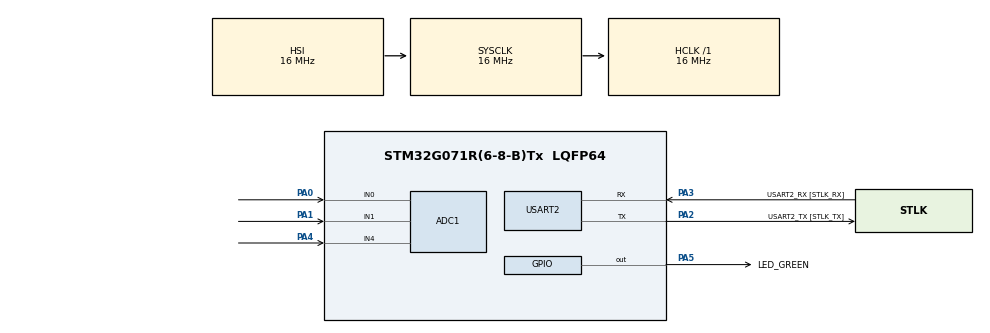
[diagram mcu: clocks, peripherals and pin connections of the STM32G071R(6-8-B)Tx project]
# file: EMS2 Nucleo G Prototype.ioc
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ADC1.Channel-0\#ChannelRegularConversion=ADC_CHANNEL_0
ADC1.Channel-1\#ChannelRegularConversion=ADC_CHANNEL_1
ADC1.Channel-2\#ChannelRegularConversion=ADC_CHANNEL_4
ADC1.ContinuousConvMode=ENABLE
ADC1.DMAContinuousRequests=ENABLE
ADC1.NbrOfConversion=3
ADC1.NbrOfConversionFlag=1
ADC1.Rank-0\#ChannelRegularConversion=1
ADC1.Rank-1\#ChannelRegularConversion=2
ADC1.Rank-2\#ChannelRegularConversion=3
ADC1.SamplingTime-0\#ChannelRegularConversion=ADC_SAMPLINGTIME_COMMON_1
ADC1.SamplingTime-1\#ChannelRegularConversion=ADC_SAMPLINGTIME_COMMON_1
ADC1.SamplingTime-2\#ChannelRegularConversion=ADC_SAMPLINGTIME_COMMON_1
ADC1.SamplingTimeCommon1=ADC_SAMPLETIME_12CYCLES_5
ADC1.SamplingTimeCommon2=ADC_SAMPLETIME_12CYCLES_5
ADC1.SelectedChannel=ADC_CHANNEL_0|ADC_CHANNEL_1|ADC_CHANNEL_4
ADC1.master=1
Dma.ADC1.0.Direction=DMA_PERIPH_TO_MEMORY
Dma.ADC1.0.EventEnable=DISABLE
Dma.ADC1.0.Instance=DMA1_Channel1
Dma.ADC1.0.MemDataAlignment=DMA_MDATAALIGN_HALFWORD
Dma.ADC1.0.MemInc=DMA_MINC_ENABLE
Dma.ADC1.0.Mode=DMA_CIRCULAR
Dma.ADC1.0.PeriphDataAlignment=DMA_PDATAALIGN_HALFWORD
Dma.ADC1.0.PeriphInc=DMA_PINC_DISABLE
Dma.ADC1.0.Polarity=HAL_DMAMUX_REQ_GEN_RISING
Dma.ADC1.0.Priority=DMA_PRIORITY_LOW
Dma.ADC1.0.RequestNumber=1
Dma.ADC1.0.SignalID=NONE
Dma.ADC1.0.SyncEnable=DISABLE
Dma.ADC1.0.SyncPolarity=HAL_DMAMUX_SYNC_NO_EVENT
Dma.ADC1.0.SyncRequestNumber=1
Dma.ADC1.0.SyncSignalID=NONE
Dma.Request0=ADC1
Mcu.Family=STM32G0
Mcu.Name=STM32G071R(6-8-B)Tx
Mcu.Package=LQFP64
NVIC.ADC1_COMP_IRQn=true\:0\:0\:false\:false\:true\:true\:true\:true
NVIC.DMA1_Channel1_IRQn=true\:0\:0\:false\:false\:true\:false\:true\:true
PA0.Mode=IN0
PA0.Signal=ADC1_IN0
PA1.Mode=IN1
PA1.Signal=ADC1_IN1
PA13.GPIO_Label=TMS
PA13.Mode=Serial_Wire
PA13.Signal=SYS_SWDIO
PA14-BOOT0.GPIO_Label=TCK
PA14-BOOT0.Mode=Serial_Wire
PA14-BOOT0.Signal=SYS_SWCLK
PA2.GPIO_Label=USART2_TX [STLK_TX]
PA2.GPIO_PuPd=GPIO_PULLUP
PA2.Mode=Asynchronous
PA2.Signal=USART2_TX
PA3.GPIO_Label=USART2_RX [STLK_RX]
PA3.GPIO_PuPd=GPIO_PULLUP
PA3.Mode=Asynchronous
PA3.Signal=USART2_RX
PA4.Mode=IN4
PA4.Signal=ADC1_IN4
PA5.GPIO_Label=LED_GREEN
PA5.GPIO_Speed=GPIO_SPEED_FREQ_HIGH
PA5.Signal=GPIO_Output
PC13.Mode=SYS_WakeUp1
PC13.Signal=SYS_WKUP2
PC14-OSC32_IN\ (PC14).Mode=LSE-External-Oscillator
PC14-OSC32_IN\ (PC14).Signal=RCC_OSC32_IN
PC15-OSC32_OUT\ (PC15).Mode=LSE-External-Oscillator
PC15-OSC32_OUT\ (PC15).Signal=RCC_OSC32_OUT
PF0-OSC_IN\ (PF0).GPIO_Label=MCO
PF0-OSC_IN\ (PF0).Mode=HSE-External-Clock-Source
PF0-OSC_IN\ (PF0).Signal=RCC_OSC_IN
ProjectManager.HeapSize=0x200
ProjectManager.StackSize=0x400
ProjectManager.TargetToolchain=STM32CubeIDE
RCC.AHBFreq_Value=16000000
RCC.CortexFreq_Value=16000000
RCC.EXTERNAL_CLOCK_VALUE=12288000
RCC.HCLKFreq_Value=16000000
RCC.HSE_VALUE=8000000
RCC.HSI_VALUE=16000000
RCC.SYSCLKFreq_VALUE=16000000
RCC.VCOOutputFreq_Value=128000000
USART2.VirtualMode-Asynchronous=VM_ASYNC
VP_SYS_VS_DBSignals.Mode=DisableDeadBatterySignals
board=NUCLEO-G071RB

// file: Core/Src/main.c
/* USER CODE BEGIN Header */
/**
  ******************************************************************************
  * @file           : main.c
  * @brief          : Main program body
  ******************************************************************************
  * @attention
  *
  * Copyright (c) 2026 STMicroelectronics.
  * All rights reserved.
  *
  * This software is licensed under terms that can be found in the LICENSE file
  * in the root directory of this software component.
  * If no LICENSE file comes with this software, it is provided AS-IS.
  *
  ******************************************************************************
  */
/* USER CODE END Header */
#include "main.h"

/* USER CODE BEGIN Includes */
#include <stdio.h>
/* USER CODE END Includes */

ADC_HandleTypeDef hadc1;
DMA_HandleTypeDef hdma_adc1;

UART_HandleTypeDef huart2;

/* USER CODE BEGIN PV */

uint16_t adc_vals[3];
float voltages[3];

typedef struct {
    float b0, b1, b2;
    float a1, a2;
    float x1, x2;
    float y1, y2;
} Biquad;

Biquad filter1[3]; // one per ADC channel
Biquad filter2[3];

volatile uint8_t new_data = 0;

/* USER CODE END PV */

void SystemClock_Config(void);
static void MX_GPIO_Init(void);
static void MX_DMA_Init(void);
static void MX_USART2_UART_Init(void);
static void MX_ADC1_Init(void);

int main(void)
{

  /* MCU Configuration--------------------------------------------------------*/

  /* Reset of all peripherals, Initializes the Flash interface and the Systick. */
  HAL_Init();

  /* Configure the system clock */
  SystemClock_Config();

  /* Initialize all configured peripherals */
  MX_GPIO_Init();
  MX_DMA_Init();
  MX_USART2_UART_Init();
  MX_ADC1_Init();
  /* USER CODE BEGIN 2 */

  HAL_ADCEx_Calibration_Start(&hadc1);
  HAL_ADC_Start_DMA(&hadc1, (uint32_t*)adc_vals, 3);

  for (int i = 0; i < 3; i++) {
      Biquad_Init(&filter1[i], 0.0048243434f, 0.0096486869f, 0.0048243434f, -1.7990964095f, 0.8175124034f);
      Biquad_Init(&filter2[i], 0.0048243434f, 0.0096486869f, 0.0048243434f, -1.5610180758f, 0.6413515381f);
  }

  /* USER CODE END 2 */

  /* Infinite loop */
  while (1)
  {

    /* USER CODE BEGIN 3 */

	  if (new_data)
	  {
	      new_data = 0;

	      printf("V0: %d mV | V1: %d mV | V2: %d mV\r\n",
	             (int)(voltages[0]*1000),
	             (int)(voltages[1]*1000),
	             (int)(voltages[2]*1000));
	  }

//	  printf("V0: %d mV | V1: %d mV | V2: %d mV\r\n",
//	         (int)(voltages[0]*1000),
//	         (int)(voltages[1]*1000),
//	         (int)(voltages[2]*1000));
	  HAL_Delay(50);

  }
  /* USER CODE END 3 */
}

void SystemClock_Config(void)
{
  RCC_OscInitTypeDef RCC_OscInitStruct = {0};
  RCC_ClkInitTypeDef RCC_ClkInitStruct = {0};

  /** Configure the main internal regulator output voltage
  */
  HAL_PWREx_ControlVoltageScaling(PWR_REGULATOR_VOLTAGE_SCALE1);

  /** Initializes the RCC Oscillators according to the specified parameters
  * in the RCC_OscInitTypeDef structure.
  */
  RCC_OscInitStruct.OscillatorType = RCC_OSCILLATORTYPE_HSI;
  RCC_OscInitStruct.HSIState = RCC_HSI_ON;
  RCC_OscInitStruct.HSIDiv = RCC_HSI_DIV1;
  RCC_OscInitStruct.HSICalibrationValue = RCC_HSICALIBRATION_DEFAULT;
  RCC_OscInitStruct.PLL.PLLState = RCC_PLL_NONE;
  if (HAL_RCC_OscConfig(&RCC_OscInitStruct) != HAL_OK)
  {
    Error_Handler();
  }

  /** Initializes the CPU, AHB and APB buses clocks
  */
  RCC_ClkInitStruct.ClockType = RCC_CLOCKTYPE_HCLK|RCC_CLOCKTYPE_SYSCLK
                              |RCC_CLOCKTYPE_PCLK1;
  RCC_ClkInitStruct.SYSCLKSource = RCC_SYSCLKSOURCE_HSI;
  RCC_ClkInitStruct.AHBCLKDivider = RCC_SYSCLK_DIV1;
  RCC_ClkInitStruct.APB1CLKDivider = RCC_HCLK_DIV1;

  if (HAL_RCC_ClockConfig(&RCC_ClkInitStruct, FLASH_LATENCY_0) != HAL_OK)
  {
    Error_Handler();
  }
}

static void MX_ADC1_Init(void)
{

  ADC_ChannelConfTypeDef sConfig = {0};

  /** Configure the global features of the ADC (Clock, Resolution, Data Alignment and number of conversion)
  */
  hadc1.Instance = ADC1;
  hadc1.Init.ClockPrescaler = ADC_CLOCK_SYNC_PCLK_DIV2;
  hadc1.Init.Resolution = ADC_RESOLUTION_12B;
  hadc1.Init.DataAlign = ADC_DATAALIGN_RIGHT;
  hadc1.Init.ScanConvMode = ADC_SCAN_ENABLE;
  hadc1.Init.EOCSelection = ADC_EOC_SINGLE_CONV;
  hadc1.Init.LowPowerAutoWait = DISABLE;
  hadc1.Init.LowPowerAutoPowerOff = DISABLE;
  hadc1.Init.ContinuousConvMode = ENABLE;
  hadc1.Init.NbrOfConversion = 3;
  hadc1.Init.ExternalTrigConv = ADC_SOFTWARE_START;
  hadc1.Init.ExternalTrigConvEdge = ADC_EXTERNALTRIGCONVEDGE_NONE;
  hadc1.Init.DMAContinuousRequests = ENABLE;
  hadc1.Init.Overrun = ADC_OVR_DATA_PRESERVED;
  hadc1.Init.SamplingTimeCommon1 = ADC_SAMPLETIME_12CYCLES_5;
  hadc1.Init.SamplingTimeCommon2 = ADC_SAMPLETIME_12CYCLES_5;
  hadc1.Init.OversamplingMode = DISABLE;
  hadc1.Init.TriggerFrequencyMode = ADC_TRIGGER_FREQ_HIGH;
  if (HAL_ADC_Init(&hadc1) != HAL_OK)
  {
    Error_Handler();
  }

  /** Configure Regular Channel
  */
  sConfig.Channel = ADC_CHANNEL_0;
  sConfig.Rank = ADC_REGULAR_RANK_1;
  sConfig.SamplingTime = ADC_SAMPLINGTIME_COMMON_1;
  if (HAL_ADC_ConfigChannel(&hadc1, &sConfig) != HAL_OK)
  {
    Error_Handler();
  }

  /** Configure Regular Channel
  */
  sConfig.Channel = ADC_CHANNEL_1;
  sConfig.Rank = ADC_REGULAR_RANK_2;
  if (HAL_ADC_ConfigChannel(&hadc1, &sConfig) != HAL_OK)
  {
    Error_Handler();
  }

  /** Configure Regular Channel
  */
  sConfig.Channel = ADC_CHANNEL_4;
  sConfig.Rank = ADC_REGULAR_RANK_3;
  if (HAL_ADC_ConfigChannel(&hadc1, &sConfig) != HAL_OK)
  {
    Error_Handler();
  }

}

static void MX_USART2_UART_Init(void)
{

  huart2.Instance = USART2;
  huart2.Init.BaudRate = 115200;
  huart2.Init.WordLength = UART_WORDLENGTH_8B;
  huart2.Init.StopBits = UART_STOPBITS_1;
  huart2.Init.Parity = UART_PARITY_NONE;
  huart2.Init.Mode = UART_MODE_TX_RX;
  huart2.Init.HwFlowCtl = UART_HWCONTROL_NONE;
  huart2.Init.OverSampling = UART_OVERSAMPLING_16;
  huart2.Init.OneBitSampling = UART_ONE_BIT_SAMPLE_DISABLE;
  huart2.Init.ClockPrescaler = UART_PRESCALER_DIV1;
  huart2.AdvancedInit.AdvFeatureInit = UART_ADVFEATURE_NO_INIT;
  if (HAL_UART_Init(&huart2) != HAL_OK)
  {
    Error_Handler();
  }
  if (HAL_UARTEx_SetTxFifoThreshold(&huart2, UART_TXFIFO_THRESHOLD_1_8) != HAL_OK)
  {
    Error_Handler();
  }
  if (HAL_UARTEx_SetRxFifoThreshold(&huart2, UART_RXFIFO_THRESHOLD_1_8) != HAL_OK)
  {
    Error_Handler();
  }
  if (HAL_UARTEx_DisableFifoMode(&huart2) != HAL_OK)
  {
    Error_Handler();
  }

}

static void MX_DMA_Init(void)
{

  /* DMA controller clock enable */
  __HAL_RCC_DMA1_CLK_ENABLE();

  /* DMA interrupt init */
  /* DMA1_Channel1_IRQn interrupt configuration */
  HAL_NVIC_SetPriority(DMA1_Channel1_IRQn, 0, 0);
  HAL_NVIC_EnableIRQ(DMA1_Channel1_IRQn);

}

static void MX_GPIO_Init(void)
{
  GPIO_InitTypeDef GPIO_InitStruct = {0};

  /* GPIO Ports Clock Enable */
  __HAL_RCC_GPIOC_CLK_ENABLE();
  __HAL_RCC_GPIOF_CLK_ENABLE();
  __HAL_RCC_GPIOA_CLK_ENABLE();

  /*Configure GPIO pin Output Level */
  HAL_GPIO_WritePin(LED_GREEN_GPIO_Port, LED_GREEN_Pin, GPIO_PIN_RESET);

  /*Configure GPIO pin : LED_GREEN_Pin */
  GPIO_InitStruct.Pin = LED_GREEN_Pin;
  GPIO_InitStruct.Mode = GPIO_MODE_OUTPUT_PP;
  GPIO_InitStruct.Pull = GPIO_NOPULL;
  GPIO_InitStruct.Speed = GPIO_SPEED_FREQ_HIGH;
  HAL_GPIO_Init(LED_GREEN_GPIO_Port, &GPIO_InitStruct);

}

/* USER CODE BEGIN 4 */
float Biquad_Process(Biquad *f, float x) {
    float y = f->b0*x + f->b1*f->x1 + f->b2*f->x2
                        - f->a1*f->y1 - f->a2*f->y2;

    f->x2 = f->x1;
    f->x1 = x;
    f->y2 = f->y1;
    f->y1 = y;

    return y;
}

void HAL_ADC_ConvCpltCallback(ADC_HandleTypeDef* hadc)
{
    if (hadc->Instance == ADC1)  // make sure it's your ADC
    {
        for (int i = 0; i < 3; i++) {
            float v = (adc_vals[i] / 4095.0f) * 3.3f;

            float y = Biquad_Process(&filter1[i], v);
            y = Biquad_Process(&filter2[i], y);

            voltages[i] = y;
        }
        new_data = 1;
    }

}

int __io_putchar(int ch)
{
    HAL_UART_Transmit(&huart2, (uint8_t*)&ch, 1, HAL_MAX_DELAY);
    return ch;
}

void Biquad_Init(Biquad *f, float b0, float b1, float b2, float a1, float a2) {
	f->b0 = b0; f->b1 = b1; f->b2 = b2;
	f->a1 = a1; f->a2 = a2;
	f->x1 = f->x2 = 0;
	f->y1 = f->y2 = 0;
}

/* USER CODE END 4 */

void Error_Handler(void)
{
  __disable_irq();
  while (1)
  {
  }
}
